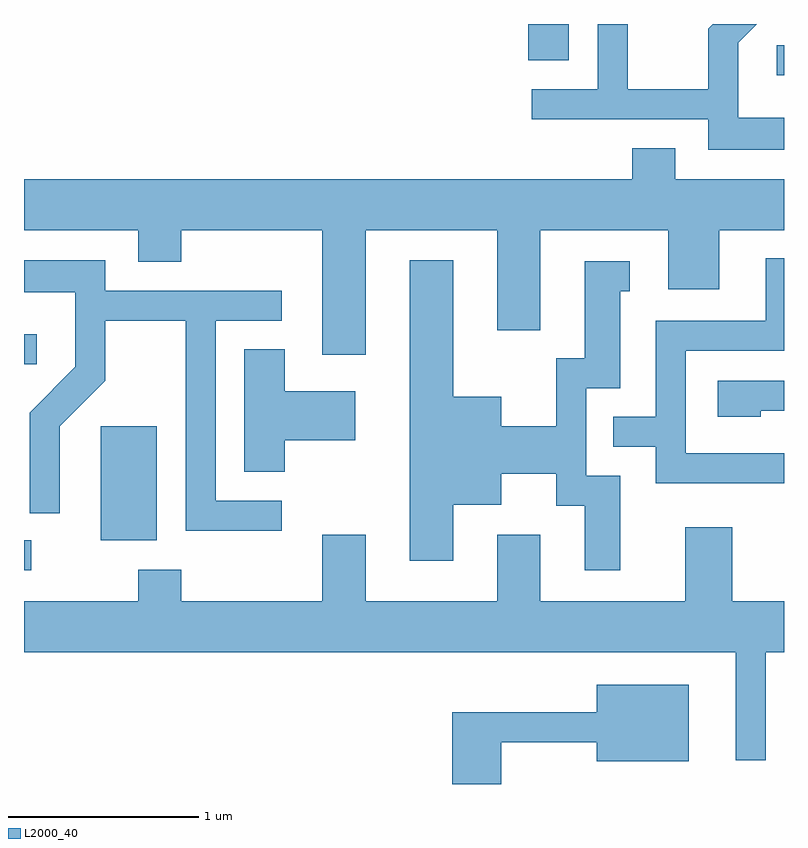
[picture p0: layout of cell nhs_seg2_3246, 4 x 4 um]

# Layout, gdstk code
import gdstk
lib = gdstk.Library(unit=1e-6, precision=1e-09)
def R(c, l, rs):  # rectangles x0, y0, x1, y1
    for r in rs: c.add(gdstk.rectangle(r[:2], r[2:], *l))
def P(c, l, *ps):  # polygons
    for p in ps: c.add(gdstk.Polygon(p, *l))
L2000_40 = (2000, 40)

nhs_seg2_3246 = lib.new_cell('nhs_seg2_3246')
R(nhs_seg2_3246, L2000_40, [(279.611,1090.926,279.648,1091.084), (280.016,1091.086,280.309,1091.684), (279.611,1092.011,279.678,1092.169), (283.573,1093.531,283.611,1093.689), (282.266,1093.611,282.479,1093.802)])
P(nhs_seg2_3246, L2000_40, [(283.611,1093.309),(283.369,1093.309),(283.369,1093.704),(283.467,1093.802),(283.236,1093.802),(283.211,1093.777),(283.211,1093.459),(282.789,1093.459),(282.789,1093.802),(282.631,1093.802),(282.631,1093.459),(282.283,1093.459),(282.283,1093.301),(283.211,1093.301),(283.211,1093.141),(283.611,1093.141)],
  [(281.409,1092.716),(282.101,1092.716),(282.101,1092.191),(282.329,1092.191),(282.329,1092.716),(283.001,1092.716),(283.001,1092.406),(283.269,1092.406),(283.269,1092.716),(283.611,1092.716),(283.611,1092.984),(283.039,1092.984),(283.039,1093.149),(282.811,1093.149),(282.811,1092.984),(279.611,1092.984),(279.611,1092.716),(280.211,1092.716),(280.211,1092.551),(280.439,1092.551),(280.439,1092.716),(281.181,1092.716),(281.181,1092.061),(281.409,1092.061)],
  [(283.611,1091.544),(283.094,1091.544),(283.094,1092.081),(283.611,1092.081),(283.611,1092.568),(283.516,1092.568),(283.516,1092.239),(282.936,1092.239),(282.936,1091.734),(282.713,1091.734),(282.713,1091.576),(282.936,1091.576),(282.936,1091.386),(283.611,1091.386)],
  [(280.968,1091.294),(280.619,1091.294),(280.619,1092.241),(280.968,1092.241),(280.968,1092.399),(280.039,1092.399),(280.039,1092.559),(279.611,1092.559),(279.611,1092.391),(279.881,1092.391),(279.881,1091.997),(279.641,1091.757),(279.641,1091.228),(279.799,1091.228),(279.799,1091.684),(280.039,1091.924),(280.039,1092.241),(280.461,1092.241),(280.461,1091.136),(280.968,1091.136)],
  [(282.749,1091.424),(282.569,1091.424),(282.569,1091.886),(282.749,1091.886),(282.749,1092.396),(282.798,1092.396),(282.798,1092.554),(282.561,1092.554),(282.561,1092.044),(282.411,1092.044),(282.411,1091.684),(282.124,1091.684),(282.124,1091.839),(281.869,1091.839),(281.869,1092.559),(281.641,1092.559),(281.641,1090.976),(281.869,1090.976),(281.869,1091.271),(282.124,1091.271),(282.124,1091.436),(282.411,1091.436),(282.411,1091.266),(282.561,1091.266),(282.561,1090.926),(282.749,1090.926)],
  [(280.984,1091.611),(281.354,1091.611),(281.354,1091.869),(280.984,1091.869),(280.984,1092.089),(280.771,1092.089),(280.771,1091.446),(280.984,1091.446)],
  [(283.489,1091.766),(283.611,1091.766),(283.611,1091.924),(283.261,1091.924),(283.261,1091.736),(283.489,1091.736)],
  [(283.514,1090.496),(283.611,1090.496),(283.611,1090.764),(283.339,1090.764),(283.339,1091.154),(283.091,1091.154),(283.091,1090.764),(282.329,1090.764),(282.329,1091.114),(282.101,1091.114),(282.101,1090.764),(281.409,1090.764),(281.409,1091.114),(281.181,1091.114),(281.181,1090.764),(280.439,1090.764),(280.439,1090.929),(280.211,1090.929),(280.211,1090.764),(279.611,1090.764),(279.611,1090.496),(283.356,1090.496),(283.356,1089.928),(283.514,1089.928)],
  [(282.124,1090.021),(282.626,1090.021),(282.626,1089.921),(283.109,1089.921),(283.109,1090.324),(282.626,1090.324),(282.626,1090.179),(281.866,1090.179),(281.866,1089.802),(282.124,1089.802)])

lib.write_gds('nhs_seg2_3246.gds')
